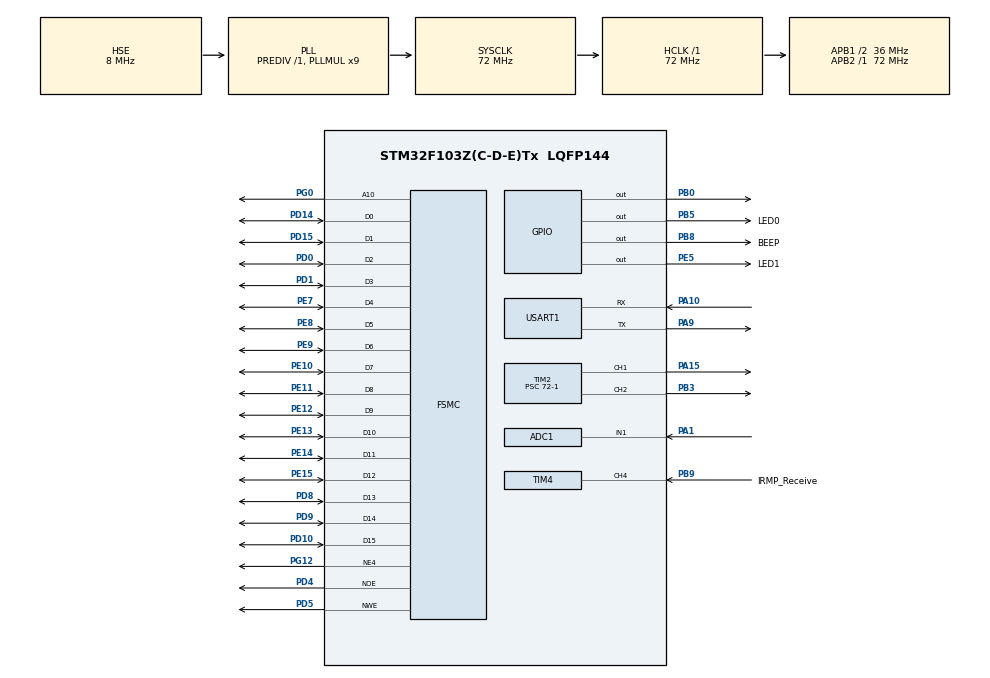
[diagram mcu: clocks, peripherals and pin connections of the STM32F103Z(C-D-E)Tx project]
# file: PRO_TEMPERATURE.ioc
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Mcu.Family=STM32F1
NVIC.ADC1_2_IRQn=true\:0\:0\:false\:false\:true\:true\:true
FSMC.AddressSetupTime4=1
SH.FSMC_D1_DA1.0=FSMC_D1,16b-d4
ADC1.ContinuousConvMode=DISABLE
SH.FSMC_NWE.0=FSMC_NWE,Lcd4
PG0.Signal=FSMC_A10
SH.FSMC_D0_DA0.0=FSMC_D0,16b-d4
TIM2.Channel-PWM\ Generation2\ CH2=TIM_CHANNEL_2
RCC.SYSCLKSource=RCC_SYSCLKSOURCE_PLLCLK
ProjectManager.StackSize=0x400
PE5.GPIO_PuPd=GPIO_PULLUP
RCC.HCLKFreq_Value=72000000
PD4.Signal=FSMC_NOE
RCC.APB2TimFreq_Value=72000000
TIM3.Period=1000-1
Dma.ADC1.0.Direction=DMA_PERIPH_TO_MEMORY
PB5.PinState=GPIO_PIN_SET
ADC1.InjNumberOfConversion=1
PD0.Signal=FSMC_D2_DA2
PD8.Signal=FSMC_D13_DA13
PE5.Signal=GPIO_Output
OSC_OUT.Mode=HSE-External-Oscillator
SH.FSMC_A10.0=FSMC_A10,A10_4
OSC_OUT.Signal=RCC_OSC_OUT
Dma.ADC1.0.MemDataAlignment=DMA_MDATAALIGN_HALFWORD
RCC.AHBFreq_Value=72000000
VP_TIM3_VS_no_output4.Mode=Output Compare4 No Output
ADC1.ExternalTrigInjecConv=ADC_INJECTED_SOFTWARE_START
RCC.PLLMUL=RCC_PLL_MUL9
PE13.Signal=FSMC_D10_DA10
SH.FSMC_D14_DA14.0=FSMC_D14,16b-d4
SH.FSMC_D10_DA10.0=FSMC_D10,16b-d4
PE9.Signal=FSMC_D6_DA6
PA14.Mode=Serial_Wire
TIM3.Prescaler=7200-1
Dma.ADC1.0.PeriphInc=DMA_PINC_DISABLE
SH.FSMC_D6_DA6.0=FSMC_D6,16b-d4
PE5.PinState=GPIO_PIN_SET
TIM3.Channel-Output\ Compare4\ No\ Output=TIM_CHANNEL_4
TIM2.Channel-PWM\ Generation1\ CH1=TIM_CHANNEL_1
TIM4.Period=8-1
PE10.Signal=FSMC_D7_DA7
SH.FSMC_D5_DA5.0=FSMC_D5,16b-d4
SH.FSMC_D4_DA4.0=FSMC_D4,16b-d4
Mcu.Package=LQFP144
PB9.Signal=S_TIM4_CH4
TIM2.Prescaler=72-1
ADC1.EnableInjectedConversion=DISABLE
SH.FSMC_D13_DA13.0=FSMC_D13,16b-d4
PB9.GPIO_PuPd=GPIO_PULLUP
PA10.Signal=USART1_RX
PA15.Signal=S_TIM2_CH1_ETR
TIM2.Pulse-PWM\ Generation2\ CH2=500
PB5.GPIO_Speed=GPIO_SPEED_FREQ_HIGH
PB5.GPIO_Label=LED0
SH.FSMC_D3_DA3.0=FSMC_D3,16b-d4
RCC.APB1TimFreq_Value=72000000
SH.FSMC_D2_DA2.0=FSMC_D2,16b-d4
PE7.Signal=FSMC_D4_DA4
NVIC.USART1_IRQn=true\:0\:0\:false\:false\:true\:true\:true
Dma.Request0=ADC1
PD15.Signal=FSMC_D1_DA1
VP_TIM3_VS_ClockSourceINT.Mode=Internal
PG12.Signal=FSMC_NE4
RCC.PLLSourceVirtual=RCC_PLLSOURCE_HSE
TIM4.AutoReloadPreload=TIM_AUTORELOAD_PRELOAD_DISABLE
SH.FSMC_D12_DA12.0=FSMC_D12,16b-d4
Dma.ADC1.0.Instance=DMA1_Channel1
FSMC.ExtendedAddressSetupTime4=0
PB9.GPIO_Label=IRMP_Receive
PA10.Mode=Asynchronous
TIM3.AutoReloadPreload=TIM_AUTORELOAD_PRELOAD_ENABLE
FSMC.ExtendedMode4=FSMC_EXTENDED_MODE_ENABLE
SH.S_TIM4_CH4.0=TIM4_CH4,Input_Capture4_from_TI4
PB8.GPIO_PuPd=GPIO_PULLDOWN
PD1.Signal=FSMC_D3_DA3
SH.FSMC_D9_DA9.0=FSMC_D9,16b-d4
PD9.Signal=FSMC_D14_DA14
PD5.Signal=FSMC_NWE
RCC.APB1CLKDivider=RCC_HCLK_DIV2
ADC1.Channel-7\#ChannelRegularConversion=ADC_CHANNEL_1
TIM2.Pulse-PWM\ Generation1\ CH1=200
SH.FSMC_D8_DA8.0=FSMC_D8,16b-d4
PB0.GPIO_Speed=GPIO_SPEED_FREQ_HIGH
RCC.ADCPresc=RCC_ADCPCLK2_DIV6
PD10.Signal=FSMC_D15_DA15
PA13.Signal=SYS_JTMS-SWDIO
PB8.GPIO_Label=BEEP
SH.S_TIM2_CH2.0=TIM2_CH2,PWM Generation2 CH2
Dma.ADC1.0.PeriphDataAlignment=DMA_PDATAALIGN_HALFWORD
PA9.Mode=Asynchronous
TIM4.Channel-Input_Capture4_from_TI4=TIM_CHANNEL_4
FSMC.DataSetupTime4=15
ProjectManager.TargetToolchain=STM32CubeIDE
Dma.ADC1.0.Mode=DMA_CIRCULAR
Dma.ADC1.0.Priority=DMA_PRIORITY_HIGH
PA9.Signal=USART1_TX
OSC_IN.Signal=RCC_OSC_IN
RCC.USBFreq_Value=72000000
TIM4.Prescaler=((F_CPU / F_INTERRUPTS)/8) - 1
PE11.Signal=FSMC_D8_DA8
PA1.Signal=SharedAnalog_PA1
FSMC.ExtendedDataSetupTime4=15
SH.FSMC_D7_DA7.0=FSMC_D7,16b-d4
board=custom
PG12.Mode=NorPsramChipSelect4_4
NVIC.TIM3_IRQn=true\:0\:0\:false\:false\:true\:true\:true
RCC.APB2Freq_Value=72000000
PE14.Signal=FSMC_D11_DA11
PE15.Signal=FSMC_D12_DA12
PE8.Signal=FSMC_D5_DA5
TIM2.Period=1000-1
PA13.Mode=Serial_Wire
Mcu.Name=STM32F103Z(C-D-E)Tx
PE12.Signal=FSMC_D9_DA9
ADC1.ExternalTrigConv=ADC_EXTERNALTRIGCONV_T3_TRGO
PD14.Signal=FSMC_D0_DA0
PB3.Signal=S_TIM2_CH2
RCC.SYSCLKFreq_VALUE=72000000
PB5.Signal=GPIO_Output
ADC1.master=1
OSC_IN.Mode=HSE-External-Oscillator
PB5.GPIO_PuPd=GPIO_PULLUP
PE5.GPIO_Label=LED1
USART1.VirtualMode=VM_ASYNC
SH.S_TIM2_CH1_ETR.0=TIM2_CH1,PWM Generation1 CH1
PA14.Signal=SYS_JTCK-SWCLK
SH.FSMC_D15_DA15.0=FSMC_D15,16b-d4
Dma.ADC1.0.MemInc=DMA_MINC_ENABLE
ProjectManager.HeapSize=0x200
SH.FSMC_D11_DA11.0=FSMC_D11,16b-d4
SH.FSMC_NOE.0=FSMC_NOE,Lcd4
SH.SharedAnalog_PA1.1=ADC1_IN1,IN1
VP_TIM4_VS_ClockSourceINT.Mode=Internal
ADC1.Rank-7\#ChannelRegularConversion=1
NVIC.PriorityGroup=NVIC_PRIORITYGROUP_4
SH.SharedAnalog_PA1.0=GPIO_Analog
ADC1.NbrOfConversionFlag=1
PE5.GPIO_Speed=GPIO_SPEED_FREQ_HIGH
ADC1.EnableRegularConversion=ENABLE
PB8.Signal=GPIO_Output
TIM2.AutoReloadPreload=TIM_AUTORELOAD_PRELOAD_ENABLE
ADC1.SamplingTime-7\#ChannelRegularConversion=ADC_SAMPLETIME_1CYCLE_5
NVIC.DMA1_Channel1_IRQn=true\:0\:0\:false\:false\:true\:false\:true
TIM3.TIM_MasterOutputTrigger=TIM_TRGO_UPDATE
NVIC.TIM4_IRQn=true\:0\:0\:false\:false\:true\:true\:true
RCC.APB1Freq_Value=36000000
PB8.GPIO_Speed=GPIO_SPEED_FREQ_HIGH
PB0.Signal=GPIO_Output

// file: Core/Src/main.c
#include "main.h"
#include "adc.h"
#include "dma.h"
#include "tim.h"
#include "usart.h"
#include "gpio.h"
#include "fsmc.h"

/* USER CODE BEGIN Includes */
#include "vol_temp.h"
#include "PID.h"
#include "malloc.h"
#include "LCD_IRMP.h"
/* USER CODE END Includes */

void SystemClock_Config(void);

/* USER CODE BEGIN 0 */

uint16_t adc_buffer[20] = { 0 }; //ADC采集数据缓冲区
uint16_t temp_vol = 0;
float voltage = 0; //存放采样的电压值
float temperature;
float errTemp;
float show_voltage;
int ChaVoltage;
uint8_t i = 0;
uint8_t Voltage_Str[] = "Voltage value is:";
uint8_t Temperature_Str[] = "Temperature is:";
uint8_t Show_Str[64];

float pwmVal_fan = 0; //调节输出PWM波的占空比，0~1000,当设为500时占空比为50%
float pwmVal_res = 10; //调节输出PWM波的占空比，0~1000,当设为500时占空比为50%
float ChaPWM;  //PWM占空比的变换值

float target_temp = 40;

uint8_t mode = 0;
float LastTemp = 0, PreTemp = 0, LaANDLastTemp = 0;

/*定义风扇和水泥电阻调节PID结构体
 * 需要注意的是：定义结构体指针时需要为其申请内存空间，否则程序会跑飞
 * （将会在main函数中为其申请空间）
 */
PID *pid_res;

uint8_t Rx_Date; //接受串口输入

//DMA回调函数
void HAL_ADC_ConvCpltCallback(ADC_HandleTypeDef *hadc) {
	if (hadc1.Instance == ADC1) {  //判断是否为ADC1的模拟输入
		//软件低通滤波(但是效果并不理想)
		for (i = 0; i < 19; i++) {
			temp_vol = adc_buffer[i];
			if (temp_vol > adc_buffer[i + 1]) {
				adc_buffer[i] = adc_buffer[i + 1];
				adc_buffer[i + 1] = temp_vol;
			}
		}
		voltage = 0;
		for (i = 8; i < 14; i++) {
			voltage += ((float) adc_buffer[i]) * 3.3 / 4096;
		}
		voltage /= 6;

		//根据电压——温度转化函数得到对应温度值
		temperature = conversion1(voltage);
		//通过PID调节水泥电阻占空比
		if (mode == 1) {
			if (LastTemp != 0 && PreTemp != 0 && LaANDLastTemp !=0 && LastTemp > PreTemp
					&& PreTemp > temperature && LaANDLastTemp > LastTemp) {
				temperature = conversion2(voltage);
				LaANDLastTemp = LastTemp;
				LastTemp = PreTemp;
				PreTemp = temperature;
				printf("采用下降温度。。。。\r\n");
			} else {
				temperature = conversion1(voltage);
				LaANDLastTemp = LastTemp;
				LastTemp = PreTemp;
				PreTemp = temperature;
				printf("采用升温温度。。。。\r\n");
			}

			if (temperature <= pid_res->SetTemp - 15) {
				pwmVal_res = 700;
				__HAL_TIM_SetCompare(&htim2, TIM_CHANNEL_2, pwmVal_res);
			} else {
				pwmVal_res = PID_Calc(pid_res, temperature);
				__HAL_TIM_SetCompare(&htim2, TIM_CHANNEL_2, pwmVal_res);
//				printf("\r\n水泥电阻电压PWM的当前占空比为%.2f\r\n", pwmVal_res / 1000);
			}

			pwmVal_fan = voltage * 272.7 - 263.56; //电压为1.7V是占空比为0.20;电压为2.8V时占空比为0.50
			__HAL_TIM_SetCompare(&htim2, TIM_CHANNEL_1, pwmVal_fan);
		} else if (mode == 2) {
			temperature = conversion2(voltage);
			if (temperature >= pid_res->SetTemp - 2) {
				pwmVal_fan = 1000;
				__HAL_TIM_SetCompare(&htim2, TIM_CHANNEL_1, pwmVal_fan);
				pwmVal_res = 10;
				__HAL_TIM_SetCompare(&htim2, TIM_CHANNEL_2, pwmVal_res);
			} else {
				mode = 1;
			}
		} else {
			pwmVal_fan = voltage * 272.7 - 263.56; //电压为1.7V是占空比为0.20;电压为2.8V时占空比为0.50
			__HAL_TIM_SetCompare(&htim2, TIM_CHANNEL_1, pwmVal_fan);
		}

		//LCD输出相关信息
		show_Data(voltage, temperature, target_temp, pwmVal_fan, pwmVal_res);

		//当温度达到60±1℃时，LED1亮；达到40±1℃时，LED0亮；其他时候灭
		if (temperature >= 59 && temperature <= 61) {
			LED0_On();
		} else if (temperature >= 39 && temperature <= 41) {
			LED1_On();
		} else {
			LED0_Off();
			LED1_Off();
		}
	}
}

//USART接收回调函数
//在调试阶段，使用串口调节占空比
/* 将目的温度值调整到任意位置  0x**  (“**”为目的温度值的十六进制形式)
 *   开始升温  0xa1    开始降温 0xa2    停止调温  0xa3
 */
void HAL_UART_RxCpltCallback(UART_HandleTypeDef *huart) {
	if (huart->Instance == USART1) {
		if (Rx_Date <= 0xa0) {
			target_temp = Rx_Date;
			ChaSetTemp(pid_res, target_temp);
			HAL_UART_Receive_IT(&huart1, &Rx_Date, 1);
			printf("当前温度目标值为 %.2f\r\n", target_temp);
		} else {
			if (Rx_Date == 0xa1) {
				mode = 1;
				PID_inte_Init(pid_res);
				printf("\r\n开始升温！！！温度升至%.2f\r\n", target_temp);
				HAL_UART_Receive_IT(&huart1, &Rx_Date, 1);
			} else if (Rx_Date == 0xa2) {
				mode = 2;
				PID_inte_Init(pid_res);
				printf("\r\n开始降温！！！温度降至%.2f\r\n", target_temp);
				HAL_UART_Receive_IT(&huart1, &Rx_Date, 1);
			} else if (Rx_Date == 0xa3) {
				mode = 0;
				printf("停止调温！！！");
				HAL_UART_Receive_IT(&huart1, &Rx_Date, 1);
			}
//			else if (Rx_Date == 0xb1) {
//				pwmVal_res += 10;
//				__HAL_TIM_SetCompare(&htim2, TIM_CHANNEL_2, pwmVal_res);
//				printf("水泥电阻的占空比增加了0.01, 当前水泥电阻占空比为%.2f", pwmVal_fan / 1000);
//				HAL_UART_Receive_IT(&huart1, &Rx_Date, 1);
//			} else if (Rx_Date == 0xb2) {
//				pwmVal_res -= 10;
//				__HAL_TIM_SetCompare(&htim2, TIM_CHANNEL_2, pwmVal_res);
//				printf("水泥电阻的占空比减小了0.01, 当前水泥电阻占空比为%.2f", pwmVal_fan / 1000);
//				HAL_UART_Receive_IT(&huart1, &Rx_Date, 1);
//			}
		}
		show_Data(voltage, temperature, target_temp, pwmVal_fan, pwmVal_res);
	}
}

/* USER CODE END 0 */

int main(void) {

	/* MCU Configuration--------------------------------------------------------*/

	/* Reset of all peripherals, Initializes the Flash interface and the Systick. */
	HAL_Init();

	/* Configure the system clock */
	SystemClock_Config();

	/* Initialize all configured peripherals */
	MX_GPIO_Init();
	MX_DMA_Init();
	MX_ADC1_Init();
	MX_TIM3_Init();
	MX_USART1_UART_Init();
	MX_TIM2_Init();
	MX_FSMC_Init();
	MX_TIM4_Init();
	/* USER CODE BEGIN 2 */
	HAL_TIM_Base_Start_IT(&htim2); // 开启计时器
	HAL_TIM_Base_Start_IT(&htim3); // 开启计时器
	HAL_TIM_PWM_Start(&htim2, TIM_CHANNEL_1); //开启PWM波输出
	HAL_TIM_PWM_Start(&htim2, TIM_CHANNEL_2); //开启PWM波输出2
	HAL_UART_Receive_IT(&huart1, &Rx_Date, 1); //开启串口接受中断
	HAL_ADC_Start_DMA(&hadc1, (uint32_t*) &adc_buffer, 20); //DMA方式开启ADC

	//分别为风扇和水泥电阻的结构体申请内存空间
	pid_res = (PID*) malloc(sizeof(PID));

	PID_Init(pid_res); //初始化PID结构体
	LCD_Init(); //LCD显示屏初始化
	irmp_init(); //初始化红外遥控

	printf("初始化完成。。。\r\n");
	//LCD显示各项数据
	show_Data(voltage, temperature, target_temp, pwmVal_fan, pwmVal_res);

	/* USER CODE END 2 */

	/* Infinite loop */
	/* USER CODE BEGIN WHILE */
	while (1) {
//		IRMP_Scan(0, &mode);
	}
	/* USER CODE END WHILE */

}

void SystemClock_Config(void) {
	RCC_OscInitTypeDef RCC_OscInitStruct = { 0 };
	RCC_ClkInitTypeDef RCC_ClkInitStruct = { 0 };
	RCC_PeriphCLKInitTypeDef PeriphClkInit = { 0 };

	/** Initializes the RCC Oscillators according to the specified parameters
	 * in the RCC_OscInitTypeDef structure.
	 */
	RCC_OscInitStruct.OscillatorType = RCC_OSCILLATORTYPE_HSE;
	RCC_OscInitStruct.HSEState = RCC_HSE_ON;
	RCC_OscInitStruct.HSEPredivValue = RCC_HSE_PREDIV_DIV1;
	RCC_OscInitStruct.HSIState = RCC_HSI_ON;
	RCC_OscInitStruct.PLL.PLLState = RCC_PLL_ON;
	RCC_OscInitStruct.PLL.PLLSource = RCC_PLLSOURCE_HSE;
	RCC_OscInitStruct.PLL.PLLMUL = RCC_PLL_MUL9;
	if (HAL_RCC_OscConfig(&RCC_OscInitStruct) != HAL_OK) {
		Error_Handler();
	}
	/** Initializes the CPU, AHB and APB buses clocks
	 */
	RCC_ClkInitStruct.ClockType = RCC_CLOCKTYPE_HCLK | RCC_CLOCKTYPE_SYSCLK
			| RCC_CLOCKTYPE_PCLK1 | RCC_CLOCKTYPE_PCLK2;
	RCC_ClkInitStruct.SYSCLKSource = RCC_SYSCLKSOURCE_PLLCLK;
	RCC_ClkInitStruct.AHBCLKDivider = RCC_SYSCLK_DIV1;
	RCC_ClkInitStruct.APB1CLKDivider = RCC_HCLK_DIV2;
	RCC_ClkInitStruct.APB2CLKDivider = RCC_HCLK_DIV1;

	if (HAL_RCC_ClockConfig(&RCC_ClkInitStruct, FLASH_LATENCY_2) != HAL_OK) {
		Error_Handler();
	}
	PeriphClkInit.PeriphClockSelection = RCC_PERIPHCLK_ADC;
	PeriphClkInit.AdcClockSelection = RCC_ADCPCLK2_DIV6;
	if (HAL_RCCEx_PeriphCLKConfig(&PeriphClkInit) != HAL_OK) {
		Error_Handler();
	}
}

/* USER CODE BEGIN 4 */
// 须在头文件中添加 #include <stdio.h>
//////////////////////////////////////////////////////////////////
// 加入以下代码,支持printf函数,而不需要选择use MicroLIB
// MDK中同样定义了 __GNUC__，使用__ARMCC_VERSION 或  __CC_ARM 区分MDK和STM32CubeIDE
// MDK预定义宏，详见 ：https://www.keil.com/support/man/docs/armcc/armcc_chr1359125007083.htm
#ifdef __CC_ARM // 或 #ifdef __ARMCC_VERSION
  #define PUTCHAR_PROTOTYPE int fputc(int ch, FILE *f)
#else
#define PUTCHAR_PROTOTYPE int __io_putchar(int ch)
#endif
#if 1

FILE __stdout;
//定义_sys_exit()以避免使用半主机模式
void _sys_exit(int x) {
	x = x;
}
//重定义fputc函数
PUTCHAR_PROTOTYPE {
// 具体哪个串口可以更改huart2为其它串口
// HAL_UART_Transmit(&huart2, (uint8_t *)&ch, 1 , 0xffff);
	while ((USART1->SR & 0X40) == 0) {
	}; //循环发送,直到发送完毕
	USART1->DR = (uint8_t) ch;

//  while ((USART2->SR & 0X40) == 0) {
//  }; //循环发送,直到发送完毕
//  USART2->DR = (uint8_t) ch;

	return ch;
}
#endif

/* USER CODE END 4 */

void Error_Handler(void) {
	__disable_irq();
	while (1) {
	}
}

/************************ (C) COPYRIGHT STMicroelectronics *****END OF FILE****/
